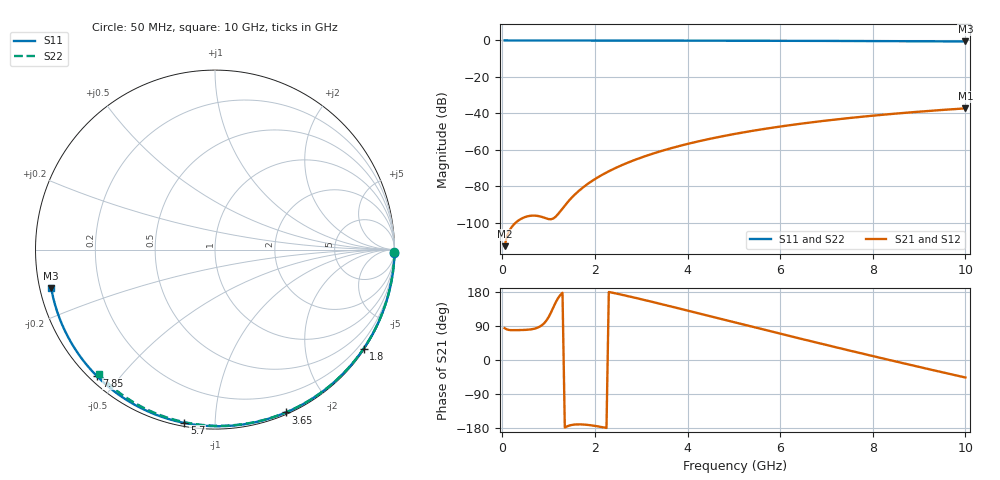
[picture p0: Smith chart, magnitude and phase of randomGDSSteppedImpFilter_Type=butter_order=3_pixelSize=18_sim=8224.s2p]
! freq	dB(S11)	phase(S11)	dB(S12)	phase(S12)
!  dB(S21)	phase(S21)	dB(S22)	phase(S22)
!S-par simulation data
#  GHz  S  DB  R 50
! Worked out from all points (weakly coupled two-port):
!   200 points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, 50 MHz to 10 GHz, reference 50 ohm
!   highest |S21| = -37.29 dB at 10 GHz (marker M1); lowest = -112.9 dB at 50 MHz (marker M2)
!   lowest |S11| = -0.6 dB at 10 GHz (marker M3), VSWR 31.01, Z = 1.63 - j5.8 ohm
!   |S11| at or under -10 dB: nowhere
!   |S22| runs from -0.5 to 0.0 dB; largest |S21 - S12| = 0
!   S11 on the Smith chart (normalised r, x): 50 MHz: open; 1.8 GHz: 0.03, -3.30; 3.65 GHz: 0.02, -1.53; 5.7 GHz: 0.02, -0.84; 7.85 GHz: 0.02, -0.43; 10 GHz: 0.03, -0.12
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0.05  -0.00 -1.0  -112.94 84.1  -112.94 84.1  -0.00 -0.8
0.45  -0.01 -8.6  -97.37 79.2  -97.37 79.2  -0.01 -6.9
0.85  -0.02 -16.1  -96.85 91.3  -96.85 91.3  -0.02 -13.0
1.3  -0.03 -24.5  -92.21 177.3  -92.21 177.3  -0.02 -19.8
1.75  -0.04 -32.8  -80.56 -170.3  -80.56 -170.3  -0.03 -26.5
1.8  -0.04 -33.7  -79.59 -170.8  -79.59 -170.8  -0.03 -27.3
2.1  -0.05 -39.1  -74.58 -175.9  -74.58 -175.9  -0.04 -31.7
2.3  -0.05 -42.7  -71.82 179.5  -71.82 179.5  -0.04 -34.6
2.5  -0.06 -46.3  -69.38 174.4  -69.38 174.4  -0.05 -37.6
2.9  -0.07 -53.4  -65.21 163.3  -65.21 163.3  -0.06 -43.3
3.4  -0.08 -62.1  -60.96 148.6  -60.96 148.6  -0.07 -50.5
3.65  -0.09 -66.4  -59.12 141.1  -59.12 141.1  -0.07 -54.0
4.35  -0.11 -78.2  -54.73 119.7  -54.73 119.7  -0.09 -63.6
5.05  -0.14 -89.6  -51.17 98.3  -51.17 98.3  -0.11 -73.0
5.7  -0.17 -100.0  -48.40 78.6  -48.40 78.6  -0.14 -81.5
6.2  -0.20 -107.8  -46.55 63.5  -46.55 63.5  -0.16 -87.9
6.7  -0.23 -115.6  -44.88 48.5  -44.88 48.5  -0.18 -94.1
7.25  -0.27 -124.0  -43.25 32.2  -43.25 32.2  -0.21 -100.9
7.85  -0.32 -133.1  -41.66 14.7  -41.66 14.7  -0.25 -108.1
8.35  -0.36 -140.8  -40.48 0.2  -40.48 0.2  -0.29 -114.0
9.2  -0.46 -154.0  -38.71 -23.9  -38.71 -23.9  -0.37 -123.9
10  -0.56 -166.8  -37.29 -46.2  -37.29 -46.2  -0.45 -133.0
